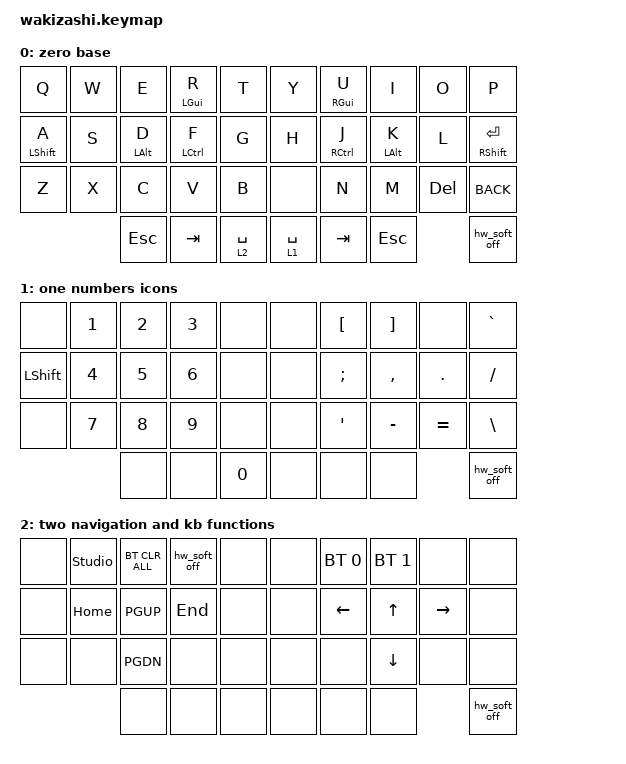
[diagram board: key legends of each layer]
#include <behaviors.dtsi>
#include <dt-bindings/zmk/keys.h>
#include <dt-bindings/zmk/bt.h>

/ {
	behaviors {
		hml: home_row_mod_left {
            		compatible = "zmk,behavior-hold-tap";
            		#binding-cells = <2>;
            		flavor = "balanced";
            		require-prior-idle-ms = <100>;
            		tapping-term-ms = <250>;
            		quick-tap-ms = <175>;
            		bindings = <&kp>, <&kp>;
            		hold-trigger-key-positions = <3 4 5 10 11 12 13 16 17 19>; // List of keys on the right
            		hold-trigger-on-release;
        	};
        	hmr: home_row_mod_right {
            		compatible = "zmk,behavior-hold-tap";
            		#binding-cells = <2>;
            		flavor = "balanced";
            		require-prior-idle-ms = <100>;
            		tapping-term-ms = <250>;
            		quick-tap-ms = <175>;
            		bindings = <&kp>, <&kp>;
            		hold-trigger-key-positions = <0 1 2 6 7 8 9 14 15 18>; // List of keys on the left
            		hold-trigger-on-release;
        	};
		hw_soft_off: hw_soft_off {
            		compatible = "zmk,behavior-soft-off";
            		#binding-cells = <0>;
            		split-peripheral-off-on-press; // Turn peripheral off immediately for reliability (not applicable)
            		hold-time-ms = <1500>; // Only turn off if the key is held for 1.5 seconds or longer.
        	};
	};
	keymap {
		compatible = "zmk,keymap";
		one {
			display-name = "zero base";
			bindings = <
				&kp Q 		&kp W 		&kp E 		&hml LGUI R 	&kp T 		&kp Y 		&hmr RGUI U 	&kp I 		&kp O 		&kp P

				&hml LSHIFT A 	&kp S 		&hml LALT D 	&hml LCTRL F 	&kp G 		&kp H 		&hmr RCTRL J 	&hmr LALT K 	&kp L 		&hmr RSHIFT ENTER

				&kp Z 		&kp X 		&kp C 		&kp V 		&kp B 		&none 		&kp N 		&kp M 		&kp DEL 	&kp BACK

								&kp ESC 	&kp TAB 	&lt 2 SPACE 	&lt 1 SPACE 	&kp TAB 	&kp ESC 					&hw_soft_off // <-- sleep button
			>;
		};
		two { display-name = "one numbers icons";
			bindings = <
				&none 		&kp N1 		&kp N2 		&kp N3		&none 		&none 		&kp LBKT 	&kp RBKT 	&none 		&kp GRAVE

				&kp LSHFT 	&kp N4 		&kp N5 		&kp N6 		&none   	&none 		&kp SEMI 	&kp COMMA 	&kp DOT 	&kp FSLH  

				&none 		&kp N7 		&kp N8 		&kp N9 		&none   	&none 		&kp APOS 	&kp MINUS 	&kp EQUAL 	&kp BSLH    

					     			&none 		&none 		&kp N0   	&none 		&none 		&none 						&hw_soft_off // <-- sleep button
			>;
		};
		three { display-name = "two navigation and kb functions";
			bindings = <
				&none 		&studio_unlock 	&bt BT_CLR_ALL &hw_soft_off 	&none		&none 		&bt BT_SEL 0 	&bt BT_SEL 1 	&none 		&none

				&none 		&kp HOME 	&kp PGUP 	&kp END 	&none 		&none 		&kp LEFT 	&kp UP 		&kp RIGHT 	&none

				&none 		&none 		&kp PGDN 	&none 		&none  		&none 		&none	 	&kp DOWN 	&none 		&none

					           		&none 		&none 		&none		&none	 	&none 		&none 						&hw_soft_off // <-- sleep button
			>;
		};
	};
};



